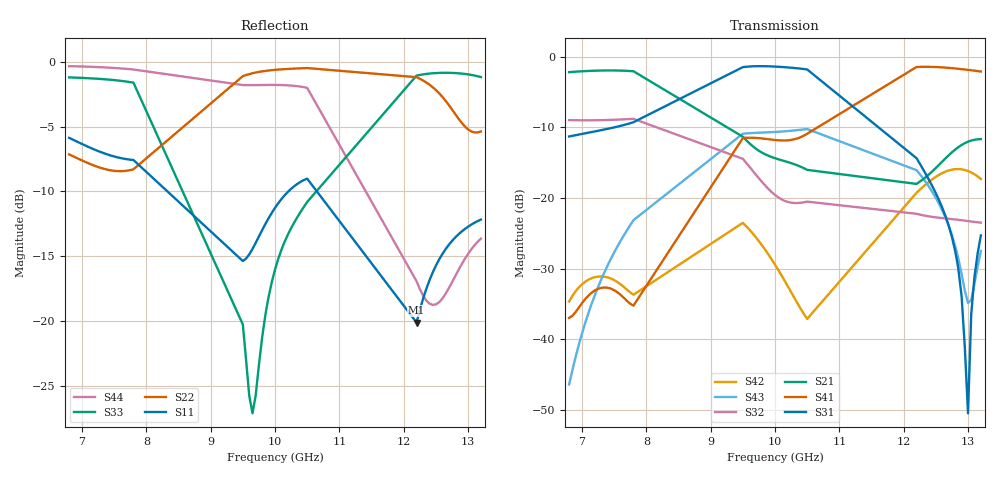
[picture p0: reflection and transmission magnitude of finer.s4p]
! yapnr rf: filterbank3-x7x10x13, footprint re-simulated (refine 3)
! spec sha256 13de688406c8ea8aa5a2983c7d9dfbef6bc7c31cd2b218bfb1531cd97a05cd76
! 4 ports renormalized to 50 ohm, e^(+jwt) convention
# GHz S RI R 50
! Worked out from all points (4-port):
!   69 points, 6.8 GHz to 13.2 GHz, reference 50 ohm
!   strongest paths, dB at 6.8 GHz, 7.55 GHz, 10 GHz, 12.45 GHz, 13.2 GHz:
!     S31: -11.3, -9.9, -1.4, -18.4, -25.3
!     S41: -37.0, -33.4, -11.8, -1.4, -2.1
!     S21: -2.2, -1.9, -14.4, -16.2, -11.7
!     S32: -9.0, -8.9, -19.6, -22.7, -23.5
!     S43: -46.4, -26.9, -10.6, -19.2, -27.5
!     S42: -34.7, -31.9, -29.4, -17.3, -17.3
!   lowest |S11| = -20.1 dB at 12.2 GHz (marker M1), VSWR 1.22, Z = 43.6 + j6.74 ohm
!   |S11| at or under -10 dB: 8.328 GHz to 10.21 GHz (1.879 GHz wide, 20.3 % of centre); 10.65 GHz to end of sweep
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6.8  0.1664 -0.4806  0.6041 0.4911  -0.1391 0.2332  0.0161 0.000359
     0.608 0.4877  0.4169 -0.1383  0.3621 -0.00666  0.0162 -0.0221
     -0.1438 0.2317  0.3563 -0.00804  -0.5171 -0.6987  0.000356 -0.0135
     0.0141 9.9e-05  0.0106 -0.0151  0.00393 -0.0027  -0.1005 0.9549
7.8  -0.1493 -0.3902  0.6832 -0.4028  0.00648 0.3372  0.00975 0.0157
     0.6779 -0.4075  -0.1441 -0.3568  0.1025 -0.3483  -0.0208 -0.0219
     -0.000618 0.3442  0.0975 -0.3504  -0.776 -0.2928  -0.0808 -0.0192
     0.00951 0.0144  -0.013 -0.016  -0.0671 -0.0187  0.9151 0.1774
9.75  -0.2116 -0.0144  -0.1949 -0.0749  0.7719 -0.3432  0.2629 -0.0544
      -0.2024 -0.0757  0.2015 0.89  0.0746 0.1112  0.0218 0.0423
      0.7849 -0.3495  0.0796 0.1126  0.0459 -0.05  0.2711 -0.1262
      0.2593 -0.057  0.0297 0.0394  0.2599 -0.1289  -0.7812 0.2218
12.2  -0.0626 0.0765  -0.1241 -0.0135  -0.1675 0.1043  -0.8296 -0.2262
      -0.1244 -0.019  0.1877 -0.8503  -0.0152 0.0507  -0.0344 0.103
      -0.1614 0.1027  -0.0363 0.0682  -0.7423 -0.4784  0.0049 0.1423
      -0.8172 -0.2256  -0.0234 0.1063  0.0394 0.1524  0.1252 0.0683
12.8  0.1729 0.1193  -0.2098 0.0573  -0.0292 0.0454  -0.674 0.5043
      -0.2112 0.0623  -0.6046 -0.1723  0.0437 0.019  0.1559 0.0459
      -0.0255 0.0336  0.053 0.0464  -0.8966 -0.108  0.00339 0.0256
      -0.6665 0.4906  0.1563 0.0343  0.0378 0.0256  0.0388 0.1439
13  0.2277 0.0402  -0.2121 0.1329  0.00159 0.0119  -0.4864 0.661
    -0.2087 0.1386  -0.4799 0.2652  0.0495 -0.00476  0.1519 -0.044
    0.00206 -0.00215  0.0678 0.0105  -0.892 0.0352  -0.0281 0.0225
    -0.4854 0.6468  0.1462 -0.0524  0.00557 0.0171  0.0453 0.1759
13.2  0.2389 -0.06  -0.1686 0.2031  0.0249 -0.0353  -0.2641 0.7513
      -0.1613 0.2056  -0.1366 0.5203  0.0451 -0.026  0.0942 -0.102
      0.0208 -0.0501  0.0619 -0.0253  -0.8521 0.1839  -0.056 0.0433
      -0.2682 0.7405  0.0866 -0.1053  -0.026 0.0331  0.0663 0.1973
